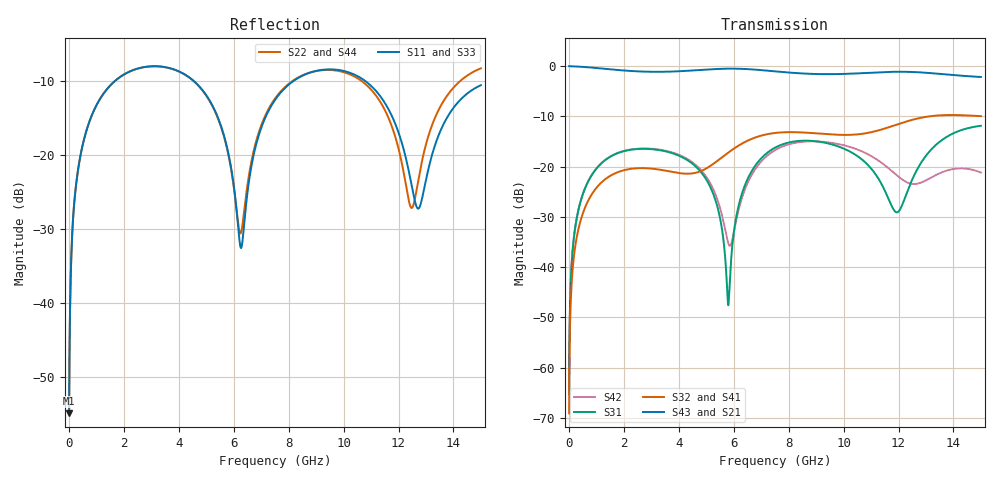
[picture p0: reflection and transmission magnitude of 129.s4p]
! Created with skrf 1.8.0 (http://scikit-rf.org).
# GHz S RI R 50.0
!freq ReS11 ImS11 ReS12 ImS12 ReS13 ImS13
! ReS14 ImS14
! ReS21 ImS21 ReS22 ImS22 ReS23 ImS23
! ReS24 ImS24
! ReS31 ImS31 ReS32 ImS32 ReS33 ImS33
! ReS34 ImS34
! ReS41 ImS41 ReS42 ImS42 ReS43 ImS43
! ReS44 ImS44
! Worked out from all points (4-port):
!   2499 points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, 5 MHz to 15 GHz, reference 50 ohm
!   strongest paths, dB at 5 MHz, 3.476 GHz, 7.19 GHz, 11.1 GHz, 15 GHz:
!     S43: 0.0, -1.1, -0.9, -1.3, -2.2
!     S21: 0.0, -1.1, -0.9, -1.3, -2.2
!     S32: -69.1, -20.8, -13.6, -13.0, -9.9
!     S41: -69.1, -20.8, -13.6, -13.0, -10.0
!     S31: -65.2, -16.9, -17.4, -21.0, -11.9
!     S42: -65.2, -16.8, -17.9, -18.2, -21.2
!   lowest |S11| = -54.9 dB at 5 MHz (marker M1), VSWR 1.00, Z = 50.1 + j0.11 ohm
!   |S11| at or under -10 dB: start of sweep to 1.687 GHz; 4.532 GHz to 8.192 GHz (3.66 GHz wide, 57.5 % of centre); 10.77 GHz to end of sweep
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0.005  0.00143 0.00109  0.9985 -0.00279  7.07e-05 0.000546  -6.88e-05 -0.000346
       0.9985 -0.00279  0.00143 0.00109  -6.88e-05 -0.000346  7.07e-05 0.000546
       7.07e-05 0.000546  -6.88e-05 -0.000346  0.00143 0.00109  0.9985 -0.00279
       -6.88e-05 -0.000346  7.07e-05 0.000546  0.9985 -0.00279  0.00143 0.00109
0.3626511  0.024 0.0831  0.967 -0.2012  0.0107 0.0376  -0.00904 -0.0235
           0.967 -0.2012  0.024 0.0831  -0.00904 -0.0235  0.0109 0.0375
           0.0107 0.0376  -0.00904 -0.0235  0.024 0.0831  0.967 -0.2012
           -0.00904 -0.0235  0.0109 0.0375  0.967 -0.2012  0.024 0.0831
1.67  0.2528 0.1867  0.5883 -0.7073  0.1158 0.0646  -0.0847 -0.0124
      0.5883 -0.7073  0.2523 0.1869  -0.0847 -0.0124  0.1176 0.0623
      0.1158 0.0646  -0.0847 -0.0124  0.2528 0.1868  0.5882 -0.7073
      -0.0847 -0.0124  0.1176 0.0623  0.5882 -0.7073  0.2524 0.1869
5.802418  0.0446 -0.0925  -0.8983 -0.2874  0.00416 0.000489  -0.0381 0.1328
          -0.8983 -0.2874  0.0489 -0.0879  -0.0374 0.1329  -0.0159 -0.00672
          0.00416 0.000489  -0.0374 0.1329  0.0458 -0.094  -0.8981 -0.2876
          -0.0381 0.1328  -0.0159 -0.00672  -0.8981 -0.2876  0.0488 -0.0898
9.722801  0.3734 -0.0364  0.0126 0.8317  0.1429 -0.0759  0.1962 -0.0683
          0.0126 0.8317  0.3676 -0.0435  0.1959 -0.0695  0.1376 -0.0994
          0.1429 -0.0759  0.1959 -0.0695  0.3711 -0.0387  0.0139 0.8324
          0.1962 -0.0683  0.1376 -0.0994  0.0139 0.8324  0.3659 -0.0423
12.4802  0.0462 -0.0414  0.8593 0.1627  0.0635 0.0348  0.0473 -0.2872
         0.8593 0.1627  0.0438 0.00107  0.0453 -0.2877  -0.0658 0.0149
         0.0635 0.0348  0.0453 -0.2877  0.0433 -0.0407  0.8599 0.1598
         0.0473 -0.2872  -0.0658 0.0149  0.8599 0.1598  0.0455 0.00288
15  0.2692 0.1201  0.3874 -0.6762  0.199 -0.1595  -0.2946 -0.1195
    0.3874 -0.6762  0.3638 0.1188  -0.296 -0.1166  0.0852 0.0191
    0.199 -0.1595  -0.296 -0.1166  0.2678 0.1189  0.3844 -0.6782
    -0.2946 -0.1195  0.0852 0.0191  0.3844 -0.6782  0.3638 0.1174
